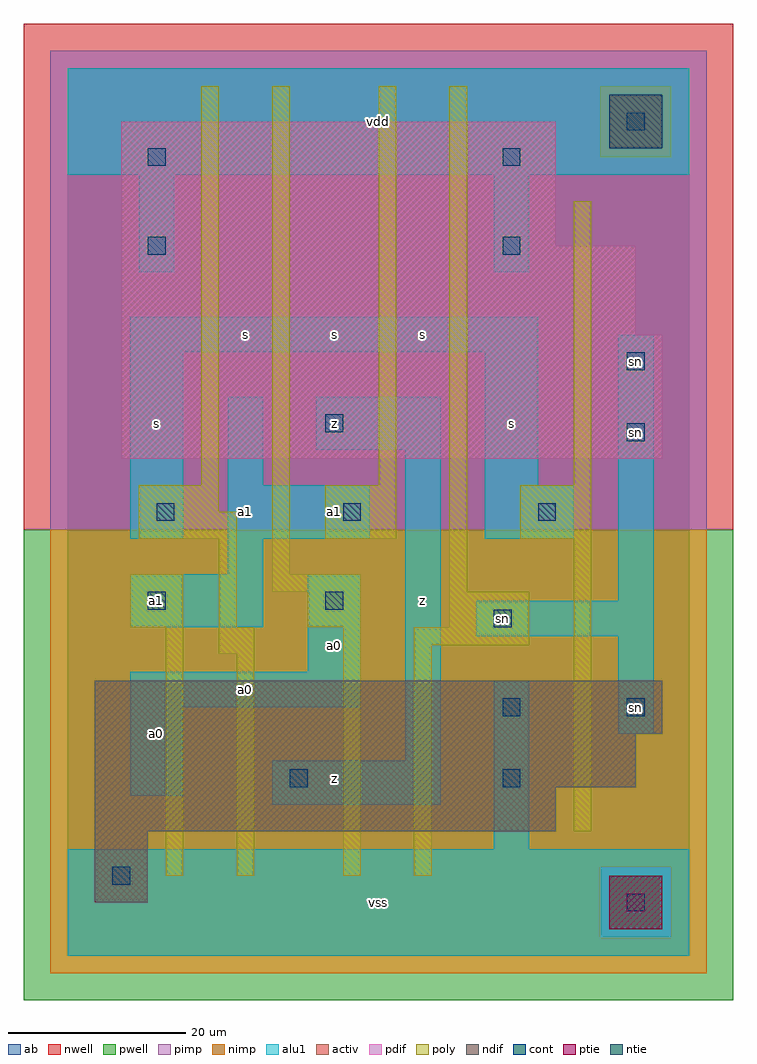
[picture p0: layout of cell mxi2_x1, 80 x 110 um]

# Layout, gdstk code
import gdstk
lib = gdstk.Library(unit=1e-6, precision=1e-09)
def R(c, l, rs):  # rectangles x0, y0, x1, y1
    for r in rs: c.add(gdstk.rectangle(r[:2], r[2:], *l))
ndif = (3, 0)
pdif = (4, 0)
ntie = (5, 0)
ptie = (6, 0)
cont = (25, 0)
pwell = (41, 0)
nwell = (42, 0)
activ = (43, 0)
pimp = (44, 0)
nimp = (45, 0)
poly = (46, 0)
alu1 = (49, 0)
ab = (63, 0)

mxi2_x1 = lib.new_cell('mxi2_x1')
R(mxi2_x1, ndif, [(3,6,9,14), (3,14,55,19), (3,19,64,25), (3,25,67,31)])
R(mxi2_x1, pdif, [(6,56,67,70), (6,70,64,80), (6,80,55,94)])
R(mxi2_x1, ntie, [(61,91,67,97)])
R(mxi2_x1, ptie, [(61,3,67,9)])
R(mxi2_x1, cont, [(63,5,65,7), (5,8,7,10), (25,19,27,21), (49,19,51,21), (49,27,51,29), (63,27,65,29), (48,37,50,39), (9,39,11,41), (29,39,31,41), (10,49,12,51), (31,49,33,51), (53,49,55,51), (63,58,65,60), (29,59,31,61), (63,66,65,68), (9,79,11,81), (49,79,51,81), (9,89,11,91), (49,89,51,91), (63,93,65,95)])
R(mxi2_x1, pwell, [(-5,-5,75,48)])
R(mxi2_x1, nwell, [(-5,48,75,105)])
R(mxi2_x1, activ, [(61,3,67,9), (3,6,9,14), (3,14,55,19), (3,19,64,25), (3,25,67,31), (6,56,67,70), (6,70,64,80), (6,80,55,94), (61,91,67,97)])
R(mxi2_x1, pimp, [(60,2,68,10), (-2,48,72,90), (-2,90,60,98), (68,90,72,98), (-2,98,72,102)])
R(mxi2_x1, nimp, [(-2,-2,72,2), (-2,2,60,10), (68,2,72,10), (-2,10,72,48), (60,90,68,98)])
R(mxi2_x1, poly, [(11,9,13,37), (19,9,21,34), (31,9,33,37), (39,9,41,35), (57,14,59,47), (17,34,21,37), (39,35,52,37), (7,37,13,43), (17,37,19,47), (27,37,33,41), (43,37,52,41), (23,41,33,43), (43,41,45,98), (23,43,25,98), (8,47,19,50), (29,47,37,53), (51,47,59,53), (8,50,17,53), (15,53,17,98), (35,53,37,98), (57,53,59,85)])
R(mxi2_x1, alu1, [(0,0,70,12), (48,12,52,31), (23,17,42,22), (7,18,13,28), (38,22,42,57), (62,25,66,36), (7,28,33,32), (27,32,33,43), (46,36,66,40), (7,37,22,43), (62,40,66,70), (18,43,22,47), (7,47,13,68), (18,47,34,53), (47,47,57,53), (18,53,22,63), (47,53,53,68), (28,57,42,63), (7,68,53,72), (8,77,12,88), (48,77,52,88), (0,88,70,100)])
R(mxi2_x1, ab, [(0,0,70,100)])
mxi2_x1.add(gdstk.Label('sn', (64,28), layer=49, texttype=0))
mxi2_x1.add(gdstk.Label('sn', (49,38), layer=49, texttype=0))
mxi2_x1.add(gdstk.Label('sn', (64,59), layer=49, texttype=0))
mxi2_x1.add(gdstk.Label('sn', (64,67), layer=49, texttype=0))
mxi2_x1.add(gdstk.Label('a0', (10,25), layer=49, texttype=0))
mxi2_x1.add(gdstk.Label('a1', (10,40), layer=49, texttype=0))
mxi2_x1.add(gdstk.Label('s', (10,60), layer=49, texttype=0))
mxi2_x1.add(gdstk.Label('z', (30,20), layer=49, texttype=0))
mxi2_x1.add(gdstk.Label('a0', (20,30), layer=49, texttype=0))
mxi2_x1.add(gdstk.Label('a0', (30,35), layer=49, texttype=0))
mxi2_x1.add(gdstk.Label('a1', (30,50), layer=49, texttype=0))
mxi2_x1.add(gdstk.Label('a1', (20,50), layer=49, texttype=0))
mxi2_x1.add(gdstk.Label('s', (20,70), layer=49, texttype=0))
mxi2_x1.add(gdstk.Label('s', (30,70), layer=49, texttype=0))
mxi2_x1.add(gdstk.Label('z', (30,60), layer=49, texttype=0))
mxi2_x1.add(gdstk.Label('vss', (35,6), layer=49, texttype=0))
mxi2_x1.add(gdstk.Label('z', (40,40), layer=49, texttype=0))
mxi2_x1.add(gdstk.Label('s', (40,70), layer=49, texttype=0))
mxi2_x1.add(gdstk.Label('s', (50,60), layer=49, texttype=0))
mxi2_x1.add(gdstk.Label('vdd', (35,94), layer=49, texttype=0))

lib.write_gds('mxi2_x1.gds')
